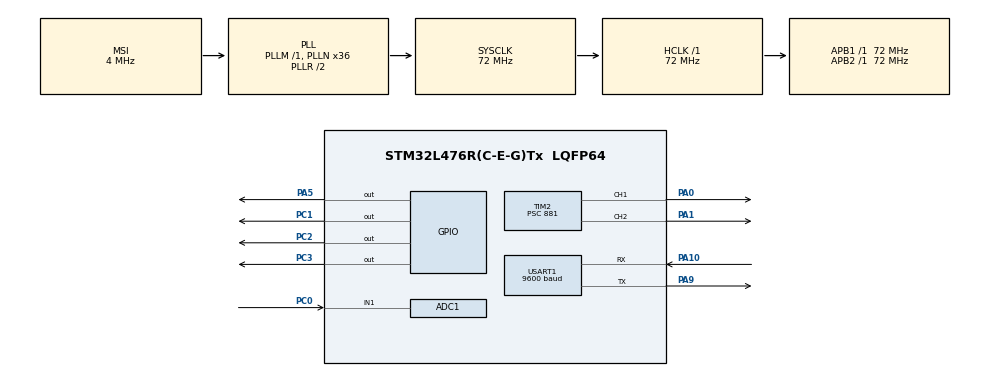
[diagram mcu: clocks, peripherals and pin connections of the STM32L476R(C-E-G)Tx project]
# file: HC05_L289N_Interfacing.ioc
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ADC1.Channel-0\#ChannelRegularConversion=ADC_CHANNEL_1
ADC1.ContinuousConvMode=DISABLE
ADC1.NbrOfConversionFlag=1
ADC1.OffsetNumber-0\#ChannelRegularConversion=ADC_OFFSET_NONE
ADC1.Rank-0\#ChannelRegularConversion=1
ADC1.Resolution=ADC_RESOLUTION_10B
ADC1.SamplingTime-0\#ChannelRegularConversion=ADC_SAMPLETIME_2CYCLES_5
ADC1.master=1
Mcu.Family=STM32L4
Mcu.Name=STM32L476R(C-E-G)Tx
Mcu.Package=LQFP64
NVIC.PriorityGroup=NVIC_PRIORITYGROUP_4
NVIC.USART1_IRQn=true\:0\:0\:false\:false\:true\:true\:true\:true
PA0.Signal=S_TIM2_CH1
PA1.Signal=S_TIM2_CH2
PA10.Mode=Asynchronous
PA10.Signal=USART1_RX
PA5.Signal=GPIO_Output
PA9.Mode=Asynchronous
PA9.Signal=USART1_TX
PC0.Signal=ADCx_IN1
PC1.Signal=GPIO_Output
PC2.Signal=GPIO_Output
PC3.Signal=GPIO_Output
ProjectManager.HeapSize=0x200
ProjectManager.StackSize=0x400
ProjectManager.TargetToolchain=STM32CubeIDE
RCC.ADCFreq_Value=32000000
RCC.AHBFreq_Value=72000000
RCC.APB1Freq_Value=72000000
RCC.APB1TimFreq_Value=72000000
RCC.APB2Freq_Value=72000000
RCC.APB2TimFreq_Value=72000000
RCC.CortexFreq_Value=72000000
RCC.HCLKFreq_Value=72000000
RCC.HSE_VALUE=8000000
RCC.HSI_VALUE=16000000
RCC.LSE_VALUE=32768
RCC.MSI_VALUE=4000000
RCC.PLLN=36
RCC.PLLSAI1N=16
RCC.SYSCLKFreq_VALUE=72000000
RCC.SYSCLKSource=RCC_SYSCLKSOURCE_PLLCLK
RCC.USBFreq_Value=32000000
RCC.VCOOutputFreq_Value=144000000
SH.ADCx_IN1.0=ADC1_IN1,IN1-Single-Ended
SH.S_TIM2_CH1.0=TIM2_CH1,PWM Generation1 CH1
SH.S_TIM2_CH2.0=TIM2_CH2,PWM Generation2 CH2
TIM2.AutoReloadPreload=TIM_AUTORELOAD_PRELOAD_ENABLE
TIM2.Channel-PWM\ Generation1\ CH1=TIM_CHANNEL_1
TIM2.Channel-PWM\ Generation2\ CH2=TIM_CHANNEL_2
TIM2.Period=255
TIM2.Prescaler=881
USART1.BaudRate=9600
USART1.VirtualMode-Asynchronous=VM_ASYNC
board=custom

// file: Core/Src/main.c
/* USER CODE BEGIN Header */
/**
  ******************************************************************************
  * @file           : main.c
  * @brief          : Main program body
  ******************************************************************************
  * @attention
  *
  * Copyright (c) 2024 STMicroelectronics.
  * All rights reserved.
  *
  * This software is licensed under terms that can be found in the LICENSE file
  * in the root directory of this software component.
  * If no LICENSE file comes with this software, it is provided AS-IS.
  *
  ******************************************************************************
  */
/* USER CODE END Header */
#include "main.h"

/* USER CODE BEGIN PTD */

#define ADC_max  1024
#define PWM_max  255
#define Rx_len   3

#define enB TIM_CHANNEL_1 // Right motor
#define in3 GPIO_PIN_2
#define in4 GPIO_PIN_3

#define enA TIM_CHANNEL_2 // Left motor
#define in1 GPIO_PIN_4
#define in2 GPIO_PIN_3

/* USER CODE END PTD */

ADC_HandleTypeDef hadc1;

TIM_HandleTypeDef htim2;

UART_HandleTypeDef huart1;

void SystemClock_Config(void);
static void MX_GPIO_Init(void);
static void MX_ADC1_Init(void);
static void MX_TIM2_Init(void);
static void MX_USART1_UART_Init(void);
/* USER CODE BEGIN PFP */

void Switch_Direction_SrvoA(void);
void Switch_Direction_SrvoB(void);
void Front_light();
void Back_light();
void Alert();
void HAL_UART_RxCpltCallback(UART_HandleTypeDef *);
uint32_t MAP(uint32_t au32_IN, uint32_t au32_INmin, uint32_t au32_INmax, uint32_t au32_OUTmin, uint32_t au32_OUTmax);

/* USER CODE END PFP */

/* USER CODE BEGIN 0 */

uint16_t ADC_RES;
uint16_t PWM_Value;
uint8_t RX_BUFFER[Rx_len]={0};
uint16_t RX_index = 0;

/* USER CODE END 0 */

int main(void)
{

  /* MCU Configuration--------------------------------------------------------*/

  /* Reset of all peripherals, Initializes the Flash interface and the Systick. */
  HAL_Init();

  /* Configure the system clock */
  SystemClock_Config();

  /* Initialize all configured peripherals */
  MX_GPIO_Init();
  MX_ADC1_Init();
  MX_TIM2_Init();
  MX_USART1_UART_Init();
  /* USER CODE BEGIN 2 */

  //Start UART1 in Interrupt mode
  HAL_UART_Receive_IT(&huart1, RX_BUFFER, Rx_len); // START THE UART AT THE FIRST INTERRUPTION

  //Start Timer 2
  HAL_TIM_PWM_Start(&htim2,TIM_CHANNEL_1);
  HAL_TIM_PWM_Start(&htim2,TIM_CHANNEL_2);

  // Calibrate The ADC On Power-Up For Better Accuracy
  HAL_ADCEx_Calibration_Start(&hadc1,ADC_SINGLE_ENDED);

  //Initialize Right motors direction to forward
  HAL_GPIO_WritePin(GPIOC, in3, GPIO_PIN_SET);
  HAL_GPIO_WritePin(GPIOC, in4, GPIO_PIN_RESET);

  /* USER CODE END 2 */

  /* Infinite loop */
  while (1)
  {

    /* USER CODE BEGIN 3 */

	// Start ADC Conversion
	HAL_ADC_Start(&hadc1);

	// Poll ADC1 Peripheral & TimeOut = 1mSec
	HAL_ADC_PollForConversion(&hadc1, 1);

	// Read The ADC Conversion Result & Map It To PWM DutyCycle
	ADC_RES = HAL_ADC_GetValue(&hadc1);
	PWM_Value = MAP(ADC_RES, 0, ADC_max, 0, PWM_max);

	//Set New PWM value
	TIM2->CCR1 = PWM_Value;
	//Or use
	//__HAL_TIM_SET_COMPARE(&htim2,TIM_CHANNEL_1, OCC_Value);
	HAL_Delay(10);

  }
  /* USER CODE END 3 */
}

void SystemClock_Config(void)
{
  RCC_OscInitTypeDef RCC_OscInitStruct = {0};
  RCC_ClkInitTypeDef RCC_ClkInitStruct = {0};

  /** Configure the main internal regulator output voltage
  */
  if (HAL_PWREx_ControlVoltageScaling(PWR_REGULATOR_VOLTAGE_SCALE1) != HAL_OK)
  {
    Error_Handler();
  }

  /** Initializes the RCC Oscillators according to the specified parameters
  * in the RCC_OscInitTypeDef structure.
  */
  RCC_OscInitStruct.OscillatorType = RCC_OSCILLATORTYPE_MSI;
  RCC_OscInitStruct.MSIState = RCC_MSI_ON;
  RCC_OscInitStruct.MSICalibrationValue = 0;
  RCC_OscInitStruct.MSIClockRange = RCC_MSIRANGE_6;
  RCC_OscInitStruct.PLL.PLLState = RCC_PLL_ON;
  RCC_OscInitStruct.PLL.PLLSource = RCC_PLLSOURCE_MSI;
  RCC_OscInitStruct.PLL.PLLM = 1;
  RCC_OscInitStruct.PLL.PLLN = 36;
  RCC_OscInitStruct.PLL.PLLP = RCC_PLLP_DIV7;
  RCC_OscInitStruct.PLL.PLLQ = RCC_PLLQ_DIV2;
  RCC_OscInitStruct.PLL.PLLR = RCC_PLLR_DIV2;
  if (HAL_RCC_OscConfig(&RCC_OscInitStruct) != HAL_OK)
  {
    Error_Handler();
  }

  /** Initializes the CPU, AHB and APB buses clocks
  */
  RCC_ClkInitStruct.ClockType = RCC_CLOCKTYPE_HCLK|RCC_CLOCKTYPE_SYSCLK
                              |RCC_CLOCKTYPE_PCLK1|RCC_CLOCKTYPE_PCLK2;
  RCC_ClkInitStruct.SYSCLKSource = RCC_SYSCLKSOURCE_PLLCLK;
  RCC_ClkInitStruct.AHBCLKDivider = RCC_SYSCLK_DIV1;
  RCC_ClkInitStruct.APB1CLKDivider = RCC_HCLK_DIV1;
  RCC_ClkInitStruct.APB2CLKDivider = RCC_HCLK_DIV1;

  if (HAL_RCC_ClockConfig(&RCC_ClkInitStruct, FLASH_LATENCY_4) != HAL_OK)
  {
    Error_Handler();
  }
}

static void MX_ADC1_Init(void)
{

  ADC_MultiModeTypeDef multimode = {0};
  ADC_ChannelConfTypeDef sConfig = {0};

  /** Common config
  */
  hadc1.Instance = ADC1;
  hadc1.Init.ClockPrescaler = ADC_CLOCK_ASYNC_DIV1;
  hadc1.Init.Resolution = ADC_RESOLUTION_10B;
  hadc1.Init.DataAlign = ADC_DATAALIGN_RIGHT;
  hadc1.Init.ScanConvMode = ADC_SCAN_DISABLE;
  hadc1.Init.EOCSelection = ADC_EOC_SINGLE_CONV;
  hadc1.Init.LowPowerAutoWait = DISABLE;
  hadc1.Init.ContinuousConvMode = DISABLE;
  hadc1.Init.NbrOfConversion = 1;
  hadc1.Init.DiscontinuousConvMode = DISABLE;
  hadc1.Init.ExternalTrigConv = ADC_SOFTWARE_START;
  hadc1.Init.ExternalTrigConvEdge = ADC_EXTERNALTRIGCONVEDGE_NONE;
  hadc1.Init.DMAContinuousRequests = DISABLE;
  hadc1.Init.Overrun = ADC_OVR_DATA_PRESERVED;
  hadc1.Init.OversamplingMode = DISABLE;
  if (HAL_ADC_Init(&hadc1) != HAL_OK)
  {
    Error_Handler();
  }

  /** Configure the ADC multi-mode
  */
  multimode.Mode = ADC_MODE_INDEPENDENT;
  if (HAL_ADCEx_MultiModeConfigChannel(&hadc1, &multimode) != HAL_OK)
  {
    Error_Handler();
  }

  /** Configure Regular Channel
  */
  sConfig.Channel = ADC_CHANNEL_1;
  sConfig.Rank = ADC_REGULAR_RANK_1;
  sConfig.SamplingTime = ADC_SAMPLETIME_2CYCLES_5;
  sConfig.SingleDiff = ADC_SINGLE_ENDED;
  sConfig.OffsetNumber = ADC_OFFSET_NONE;
  sConfig.Offset = 0;
  if (HAL_ADC_ConfigChannel(&hadc1, &sConfig) != HAL_OK)
  {
    Error_Handler();
  }

}

static void MX_TIM2_Init(void)
{

  TIM_MasterConfigTypeDef sMasterConfig = {0};
  TIM_OC_InitTypeDef sConfigOC = {0};

  htim2.Instance = TIM2;
  htim2.Init.Prescaler = 881;
  htim2.Init.CounterMode = TIM_COUNTERMODE_UP;
  htim2.Init.Period = 255;
  htim2.Init.ClockDivision = TIM_CLOCKDIVISION_DIV1;
  htim2.Init.AutoReloadPreload = TIM_AUTORELOAD_PRELOAD_ENABLE;
  if (HAL_TIM_PWM_Init(&htim2) != HAL_OK)
  {
    Error_Handler();
  }
  sMasterConfig.MasterOutputTrigger = TIM_TRGO_RESET;
  sMasterConfig.MasterSlaveMode = TIM_MASTERSLAVEMODE_DISABLE;
  if (HAL_TIMEx_MasterConfigSynchronization(&htim2, &sMasterConfig) != HAL_OK)
  {
    Error_Handler();
  }
  sConfigOC.OCMode = TIM_OCMODE_PWM1;
  sConfigOC.Pulse = 0;
  sConfigOC.OCPolarity = TIM_OCPOLARITY_HIGH;
  sConfigOC.OCFastMode = TIM_OCFAST_DISABLE;
  if (HAL_TIM_PWM_ConfigChannel(&htim2, &sConfigOC, TIM_CHANNEL_1) != HAL_OK)
  {
    Error_Handler();
  }
  if (HAL_TIM_PWM_ConfigChannel(&htim2, &sConfigOC, TIM_CHANNEL_2) != HAL_OK)
  {
    Error_Handler();
  }
  HAL_TIM_MspPostInit(&htim2);

}

static void MX_USART1_UART_Init(void)
{

  huart1.Instance = USART1;
  huart1.Init.BaudRate = 9600;
  huart1.Init.WordLength = UART_WORDLENGTH_8B;
  huart1.Init.StopBits = UART_STOPBITS_1;
  huart1.Init.Parity = UART_PARITY_NONE;
  huart1.Init.Mode = UART_MODE_TX_RX;
  huart1.Init.HwFlowCtl = UART_HWCONTROL_NONE;
  huart1.Init.OverSampling = UART_OVERSAMPLING_16;
  huart1.Init.OneBitSampling = UART_ONE_BIT_SAMPLE_DISABLE;
  huart1.AdvancedInit.AdvFeatureInit = UART_ADVFEATURE_NO_INIT;
  if (HAL_UART_Init(&huart1) != HAL_OK)
  {
    Error_Handler();
  }

}

static void MX_GPIO_Init(void)
{
  GPIO_InitTypeDef GPIO_InitStruct = {0};

  /* GPIO Ports Clock Enable */
  __HAL_RCC_GPIOC_CLK_ENABLE();
  __HAL_RCC_GPIOA_CLK_ENABLE();

  /*Configure GPIO pin Output Level */
  HAL_GPIO_WritePin(GPIOC, GPIO_PIN_1|GPIO_PIN_2|GPIO_PIN_3, GPIO_PIN_RESET);

  /*Configure GPIO pin Output Level */
  HAL_GPIO_WritePin(GPIOA, GPIO_PIN_5, GPIO_PIN_RESET);

  /*Configure GPIO pins : PC1 PC2 PC3 */
  GPIO_InitStruct.Pin = GPIO_PIN_1|GPIO_PIN_2|GPIO_PIN_3;
  GPIO_InitStruct.Mode = GPIO_MODE_OUTPUT_PP;
  GPIO_InitStruct.Pull = GPIO_NOPULL;
  GPIO_InitStruct.Speed = GPIO_SPEED_FREQ_LOW;
  HAL_GPIO_Init(GPIOC, &GPIO_InitStruct);

  /*Configure GPIO pin : PA5 */
  GPIO_InitStruct.Pin = GPIO_PIN_5;
  GPIO_InitStruct.Mode = GPIO_MODE_OUTPUT_PP;
  GPIO_InitStruct.Pull = GPIO_NOPULL;
  GPIO_InitStruct.Speed = GPIO_SPEED_FREQ_LOW;
  HAL_GPIO_Init(GPIOA, &GPIO_InitStruct);

}

/* USER CODE BEGIN 4 */

void Switch_Direction_SrvoA(void){
	HAL_GPIO_TogglePin(GPIOC, in3 | in4);
}

void Switch_Direction_SrvoB(void){
	HAL_GPIO_TogglePin(GPIOC, in1 | in2);
}

void Front_light(){
	//
}

void Back_light(){
	//
}

void Alert(){
	//
}

void HAL_UART_RxCpltCallback(UART_HandleTypeDef *huart) {

	//Check the Cplt callback function call belongs to the UART1 instance.
	if (huart == &huart1) {

	//Toggle LED connected to PA5
	HAL_GPIO_TogglePin(GPIOA, GPIO_PIN_5);

	//Increment Buffer index to receive next Byte in the index + 1 position

	/*
	RX_index += 1;

	// In case we reach buffer length reinitialize RX_index and empty the buffer.
    if (RX_index == 3) {
    	RX_index = 0;

    	for (int i; i<3;i++){
    		RX_BUFFER[i] = 0;
    		}
    	}

	 */

	// Réactivez la réception UART pour la prochaine commande
	HAL_UART_Receive_IT(&huart1,RX_BUFFER,Rx_len);
	}

}

uint32_t MAP(uint32_t au32_IN, uint32_t au32_INmin, uint32_t au32_INmax, uint32_t au32_OUTmin, uint32_t au32_OUTmax)
{
	return ((((au32_IN - au32_INmin)*(au32_OUTmax - au32_OUTmin))/(au32_INmax - au32_INmin)) + au32_OUTmin);
}

/* USER CODE END 4 */

void Error_Handler(void)
{
  __disable_irq();
  while (1)
  {
  }
}
